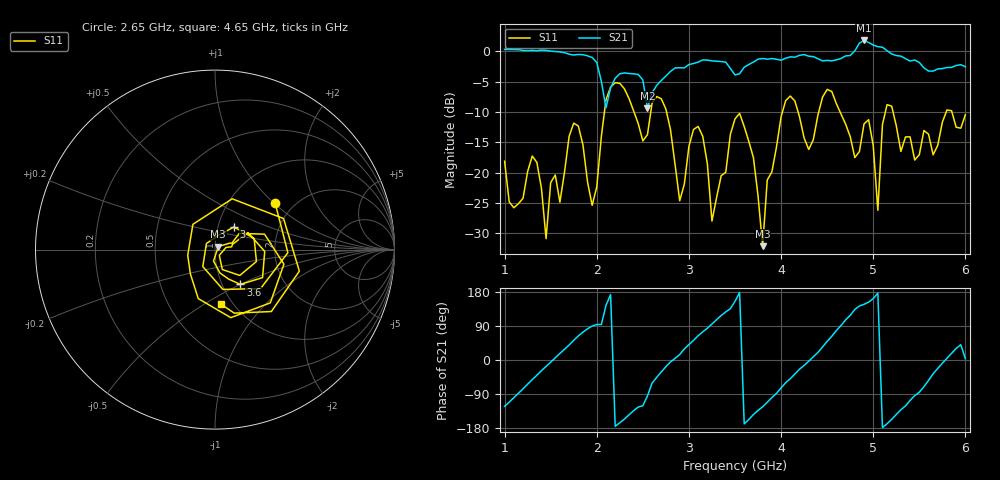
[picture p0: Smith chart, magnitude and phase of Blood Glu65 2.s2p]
! NanoVNA-App
! Date: 2024-03-21 12:44:17
! Start: 1GHz Stop: 6GHz Points: 101
! S-Parameter data: F S11 S21 S12 S22
# Hz S RI R 50
!	Frequency	S11_Real	S11_Imag	S21_Real	S21_Imag	S12_Real	S12_Imag	S22_Real	S22_Imag
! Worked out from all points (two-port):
!   101 points, 1 GHz to 6 GHz, reference 50 ohm
!   highest |S21| = 1.79 dB at 4.9 GHz (marker M1); lowest = -9.4 dB at 2.55 GHz (marker M2)
!   |S21| within 3 dB of the highest: start of sweep to 1.961 GHz; 4.645 GHz to 5.351 GHz (706.3 MHz wide, 14.1 % of centre)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
!   lowest |S11| = -32.1 dB at 3.8 GHz (marker M3), VSWR 1.05, Z = 51.8 + j1.74 ohm
!   |S11| at or under -10 dB: start of sweep to 2.083 GHz; 2.757 GHz to 4.015 GHz (1.258 GHz wide, 37.1 % of centre); 5.215 GHz to 5.792 GHz (576.9 MHz wide, 10.5 % of centre)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
!   S12 and S22 are empty: the file has one direction only
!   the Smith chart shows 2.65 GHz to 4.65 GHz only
!   S11 on the Smith chart (normalised r, x): 2.65 GHz: 1.61, +1.02; 3 GHz: 1.19, +0.31; 3.6 GHz: 1.22, -0.50; 4.65 GHz: 0.88, -0.59
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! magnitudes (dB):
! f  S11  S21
! 1 GHz  -18.1  0.3
! 1.35 GHz  -18.3  0.1
! 1.45 GHz  -30.9  0.2
! 1.85 GHz  -15.4  -0.6
! 1.95 GHz  -25.4  -1.0
! 2.15 GHz  -5.9  -6.0
! 2.55 GHz  -13.7  -9.4
! 2.65 GHz  -7.5  -5.6
! 2.7 GHz  -7.8  -4.8
! 2.9 GHz  -24.6  -2.7
! 3 GHz  -15.7  -2.2
! 3.25 GHz  -28.0  -1.6
! 3.5 GHz  -11.1  -3.9
! 3.6 GHz  -12.4  -2.6
! 3.8 GHz  -32.1  -1.2
! 4.05 GHz  -8.1  -1.1
! 4.35 GHz  -14.6  -0.9
! 4.65 GHz  -10.3  -1.2
! 4.9 GHz  -12.0  1.8
! 5.05 GHz  -26.2  0.8
! 5.2 GHz  -9.0  -0.4
! 6 GHz  -10.5  -2.6
